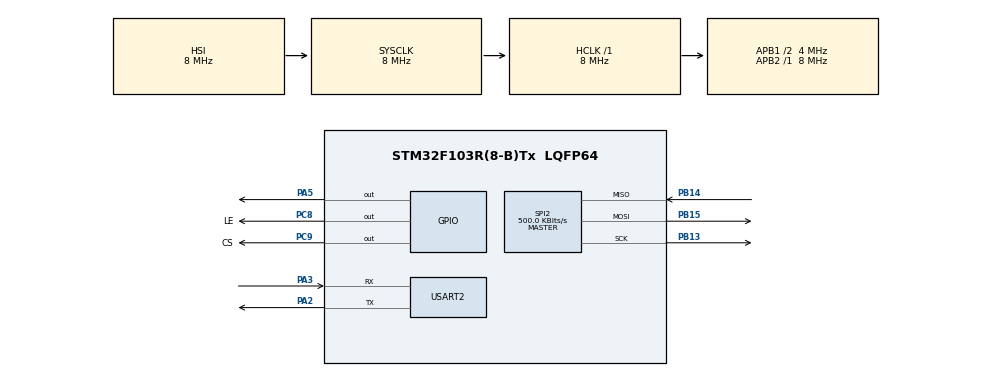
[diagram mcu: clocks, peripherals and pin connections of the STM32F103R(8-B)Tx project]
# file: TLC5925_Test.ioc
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Mcu.Family=STM32F1
Mcu.Name=STM32F103R(8-B)Tx
Mcu.Package=LQFP64
NVIC.PriorityGroup=NVIC_PRIORITYGROUP_4
PA2.Mode=Asynchronous
PA2.Signal=USART2_TX
PA3.Mode=Asynchronous
PA3.Signal=USART2_RX
PA5.Signal=GPIO_Output
PB13.Mode=Full_Duplex_Master
PB13.Signal=SPI2_SCK
PB14.Mode=Full_Duplex_Master
PB14.Signal=SPI2_MISO
PB15.Mode=Full_Duplex_Master
PB15.Signal=SPI2_MOSI
PC8.GPIO_Label=LE
PC8.Signal=GPIO_Output
PC9.GPIO_Label=CS
PC9.PinState=GPIO_PIN_SET
PC9.Signal=GPIO_Output
ProjectManager.HeapSize=0x200
ProjectManager.StackSize=0x400
ProjectManager.TargetToolchain=MDK-ARM V5
RCC.AHBFreq_Value=8000000
RCC.APB1CLKDivider=RCC_HCLK_DIV2
RCC.APB1Freq_Value=4000000
RCC.APB1TimFreq_Value=8000000
RCC.APB2Freq_Value=8000000
RCC.APB2TimFreq_Value=8000000
RCC.HCLKFreq_Value=8000000
RCC.PLLMUL=RCC_PLL_MUL16
RCC.RTCClockSelection=RCC_RTCCLKSOURCE_LSE
RCC.SYSCLKFreq_VALUE=8000000
RCC.USBFreq_Value=64000000
SPI2.BaudRatePrescaler=SPI_BAUDRATEPRESCALER_8
SPI2.CalculateBaudRate=500.0 KBits/s
SPI2.Direction=SPI_DIRECTION_2LINES
SPI2.Mode=SPI_MODE_MASTER
SPI2.VirtualType=VM_MASTER
USART2.VirtualMode=VM_ASYNC
VP_SYS_VS_ND.Mode=No_Debug
board=NUCLEO-F103RB

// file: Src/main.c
/**
  ******************************************************************************
  * @file           : main.c
  * @brief          : Main program body
  ******************************************************************************
  ** This notice applies to any and all portions of this file
  * that are not between comment pairs USER CODE BEGIN and
  * USER CODE END. Other portions of this file, whether
  * inserted by the user or by software development tools
  * are owned by their respective copyright owners.
  *
  * COPYRIGHT(c) 2021 STMicroelectronics
  *
  * Redistribution and use in source and binary forms, with or without modification,
  * are permitted provided that the following conditions are met:
  *   1. Redistributions of source code must retain the above copyright notice,
  *      this list of conditions and the following disclaimer.
  *   2. Redistributions in binary form must reproduce the above copyright notice,
  *      this list of conditions and the following disclaimer in the documentation
  *      and/or other materials provided with the distribution.
  *   3. Neither the name of STMicroelectronics nor the names of its contributors
  *      may be used to endorse or promote products derived from this software
  *      without specific prior written permission.
  *
  * THIS SOFTWARE IS PROVIDED BY THE COPYRIGHT HOLDERS AND CONTRIBUTORS "AS IS"
  * AND ANY EXPRESS OR IMPLIED WARRANTIES, INCLUDING, BUT NOT LIMITED TO, THE
  * IMPLIED WARRANTIES OF MERCHANTABILITY AND FITNESS FOR A PARTICULAR PURPOSE ARE
  * DISCLAIMED. IN NO EVENT SHALL THE COPYRIGHT HOLDER OR CONTRIBUTORS BE LIABLE
  * FOR ANY DIRECT, INDIRECT, INCIDENTAL, SPECIAL, EXEMPLARY, OR CONSEQUENTIAL
  * DAMAGES (INCLUDING, BUT NOT LIMITED TO, PROCUREMENT OF SUBSTITUTE GOODS OR
  * SERVICES; LOSS OF USE, DATA, OR PROFITS; OR BUSINESS INTERRUPTION) HOWEVER
  * CAUSED AND ON ANY THEORY OF LIABILITY, WHETHER IN CONTRACT, STRICT LIABILITY,
  * OR TORT (INCLUDING NEGLIGENCE OR OTHERWISE) ARISING IN ANY WAY OUT OF THE USE
  * OF THIS SOFTWARE, EVEN IF ADVISED OF THE POSSIBILITY OF SUCH DAMAGE.
  *
  ******************************************************************************
  */
#include "main.h"
#include "stm32f1xx_hal.h"

SPI_HandleTypeDef hspi2;

UART_HandleTypeDef huart2;

/* USER CODE BEGIN PV */
/* Private variables ---------------------------------------------------------*/
uint8_t spiTxBuff [2] , spiRxBuff [2], pod[2];
char UARTbuffer [8];
/* USER CODE END PV */

void SystemClock_Config(void);
static void MX_GPIO_Init(void);
static void MX_USART2_UART_Init(void);
static void MX_SPI2_Init(void);

/* USER CODE BEGIN PFP */
/* Private function prototypes -----------------------------------------------*/

/* USER CODE END PFP */

int main(void)
{

  /* MCU Configuration----------------------------------------------------------*/

  /* Reset of all peripherals, Initializes the Flash interface and the Systick. */
  HAL_Init();

  /* Configure the system clock */
  SystemClock_Config();

  /* Initialize all configured peripherals */
  MX_GPIO_Init();
  MX_USART2_UART_Init();
  MX_SPI2_Init();

  /* Infinite loop */
  while (1)
  {

  /* USER CODE BEGIN 3 */

			HAL_GPIO_WritePin(CS_GPIO_Port , CS_Pin,1);
			HAL_GPIO_WritePin(LE_GPIO_Port, LE_Pin, 0);
			//pod[0]=0x00;
			//od 8 do 16
			pod[0] = 0xAA; //10101010  od 16 do 8
			// od 1 do 8
			pod[1] = 0x8B; //10001011  od 8 do 1
			HAL_SPI_Transmit(&hspi2, pod, 2, 50);
			while (hspi2.State == HAL_SPI_STATE_BUSY ) {};
			HAL_GPIO_WritePin(LE_GPIO_Port , LE_Pin , GPIO_PIN_SET );
			HAL_Delay(10);
			HAL_GPIO_WritePin(LE_GPIO_Port , LE_Pin , GPIO_PIN_RESET );
			HAL_Delay(500);
			HAL_GPIO_WritePin(CS_GPIO_Port , CS_Pin , GPIO_PIN_RESET );
			HAL_Delay(500);
			HAL_GPIO_WritePin(CS_GPIO_Port , CS_Pin,1);

  }
  /* USER CODE END 3 */

}

void SystemClock_Config(void)
{

  RCC_OscInitTypeDef RCC_OscInitStruct;
  RCC_ClkInitTypeDef RCC_ClkInitStruct;

    /**Initializes the CPU, AHB and APB busses clocks
    */
  RCC_OscInitStruct.OscillatorType = RCC_OSCILLATORTYPE_HSI;
  RCC_OscInitStruct.HSIState = RCC_HSI_ON;
  RCC_OscInitStruct.HSICalibrationValue = 16;
  RCC_OscInitStruct.PLL.PLLState = RCC_PLL_NONE;
  if (HAL_RCC_OscConfig(&RCC_OscInitStruct) != HAL_OK)
  {
    _Error_Handler(__FILE__, __LINE__);
  }

    /**Initializes the CPU, AHB and APB busses clocks
    */
  RCC_ClkInitStruct.ClockType = RCC_CLOCKTYPE_HCLK|RCC_CLOCKTYPE_SYSCLK
                              |RCC_CLOCKTYPE_PCLK1|RCC_CLOCKTYPE_PCLK2;
  RCC_ClkInitStruct.SYSCLKSource = RCC_SYSCLKSOURCE_HSI;
  RCC_ClkInitStruct.AHBCLKDivider = RCC_SYSCLK_DIV1;
  RCC_ClkInitStruct.APB1CLKDivider = RCC_HCLK_DIV2;
  RCC_ClkInitStruct.APB2CLKDivider = RCC_HCLK_DIV1;

  if (HAL_RCC_ClockConfig(&RCC_ClkInitStruct, FLASH_LATENCY_0) != HAL_OK)
  {
    _Error_Handler(__FILE__, __LINE__);
  }

    /**Configure the Systick interrupt time
    */
  HAL_SYSTICK_Config(HAL_RCC_GetHCLKFreq()/1000);

    /**Configure the Systick
    */
  HAL_SYSTICK_CLKSourceConfig(SYSTICK_CLKSOURCE_HCLK);

  /* SysTick_IRQn interrupt configuration */
  HAL_NVIC_SetPriority(SysTick_IRQn, 0, 0);
}

/* SPI2 init function */
static void MX_SPI2_Init(void)
{

  /* SPI2 parameter configuration*/
  hspi2.Instance = SPI2;
  hspi2.Init.Mode = SPI_MODE_MASTER;
  hspi2.Init.Direction = SPI_DIRECTION_2LINES;
  hspi2.Init.DataSize = SPI_DATASIZE_8BIT;
  hspi2.Init.CLKPolarity = SPI_POLARITY_LOW;
  hspi2.Init.CLKPhase = SPI_PHASE_1EDGE;
  hspi2.Init.NSS = SPI_NSS_SOFT;
  hspi2.Init.BaudRatePrescaler = SPI_BAUDRATEPRESCALER_8;
  hspi2.Init.FirstBit = SPI_FIRSTBIT_MSB;
  hspi2.Init.TIMode = SPI_TIMODE_DISABLE;
  hspi2.Init.CRCCalculation = SPI_CRCCALCULATION_DISABLE;
  hspi2.Init.CRCPolynomial = 10;
  if (HAL_SPI_Init(&hspi2) != HAL_OK)
  {
    _Error_Handler(__FILE__, __LINE__);
  }

}

/* USART2 init function */
static void MX_USART2_UART_Init(void)
{

  huart2.Instance = USART2;
  huart2.Init.BaudRate = 115200;
  huart2.Init.WordLength = UART_WORDLENGTH_8B;
  huart2.Init.StopBits = UART_STOPBITS_1;
  huart2.Init.Parity = UART_PARITY_NONE;
  huart2.Init.Mode = UART_MODE_TX_RX;
  huart2.Init.HwFlowCtl = UART_HWCONTROL_NONE;
  huart2.Init.OverSampling = UART_OVERSAMPLING_16;
  if (HAL_UART_Init(&huart2) != HAL_OK)
  {
    _Error_Handler(__FILE__, __LINE__);
  }

}

/** Configure pins as
        * Analog
        * Input
        * Output
        * EVENT_OUT
        * EXTI
*/
static void MX_GPIO_Init(void)
{

  GPIO_InitTypeDef GPIO_InitStruct;

  /* GPIO Ports Clock Enable */
  __HAL_RCC_GPIOA_CLK_ENABLE();
  __HAL_RCC_GPIOB_CLK_ENABLE();
  __HAL_RCC_GPIOC_CLK_ENABLE();

  /*Configure GPIO pin Output Level */
  HAL_GPIO_WritePin(GPIOA, GPIO_PIN_5, GPIO_PIN_RESET);

  /*Configure GPIO pin Output Level */
  HAL_GPIO_WritePin(LE_GPIO_Port, LE_Pin, GPIO_PIN_RESET);

  /*Configure GPIO pin Output Level */
  HAL_GPIO_WritePin(CS_GPIO_Port, CS_Pin, GPIO_PIN_SET);

  /*Configure GPIO pin : PA5 */
  GPIO_InitStruct.Pin = GPIO_PIN_5;
  GPIO_InitStruct.Mode = GPIO_MODE_OUTPUT_PP;
  GPIO_InitStruct.Speed = GPIO_SPEED_FREQ_LOW;
  HAL_GPIO_Init(GPIOA, &GPIO_InitStruct);

  /*Configure GPIO pins : LE_Pin CS_Pin */
  GPIO_InitStruct.Pin = LE_Pin|CS_Pin;
  GPIO_InitStruct.Mode = GPIO_MODE_OUTPUT_PP;
  GPIO_InitStruct.Speed = GPIO_SPEED_FREQ_LOW;
  HAL_GPIO_Init(GPIOC, &GPIO_InitStruct);

}

void _Error_Handler(char *file, int line)
{
  while(1)
  {
  }
}

/************************ (C) COPYRIGHT STMicroelectronics *****END OF FILE****/
